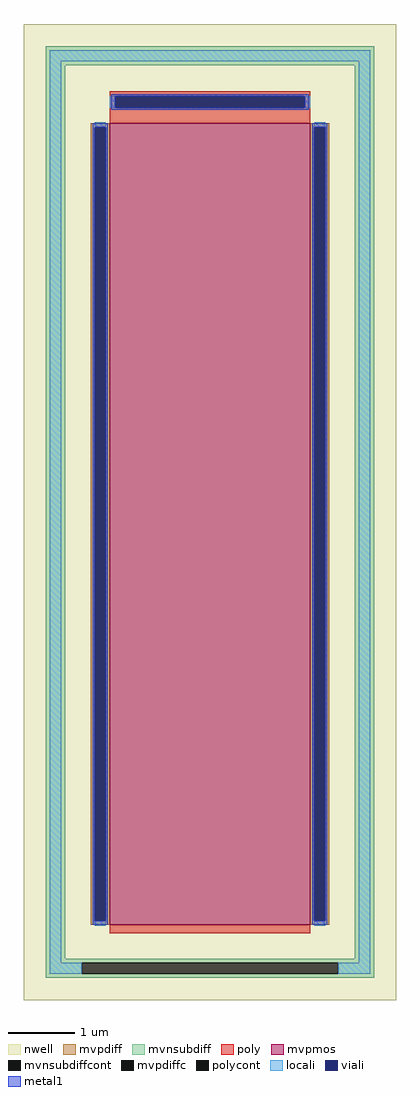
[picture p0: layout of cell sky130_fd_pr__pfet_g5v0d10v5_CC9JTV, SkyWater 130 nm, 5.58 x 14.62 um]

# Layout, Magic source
magic
tech sky130A
magscale 1 2
<< nwell >>
rect -558 -1462 558 1462
<< mvpmos >>
rect -300 -1236 300 1164
<< mvpdiff >>
rect -358 1152 -300 1164
rect -358 -1224 -346 1152
rect -312 -1224 -300 1152
rect -358 -1236 -300 -1224
rect 300 1152 358 1164
rect 300 -1224 312 1152
rect 346 -1224 358 1152
rect 300 -1236 358 -1224
<< mvpdiffc >>
rect -346 -1224 -312 1152
rect 312 -1224 346 1152
<< mvnsubdiff >>
rect -492 1338 492 1396
rect -492 -1338 -434 1338
rect 434 -1338 492 1338
rect -492 -1350 492 -1338
rect -492 -1384 -384 -1350
rect 384 -1384 492 -1350
rect -492 -1396 492 -1384
<< mvnsubdiffcont >>
rect -384 -1384 384 -1350
<< poly >>
rect -300 1245 300 1261
rect -300 1211 -284 1245
rect 284 1211 300 1245
rect -300 1164 300 1211
rect -300 -1262 300 -1236
<< polycont >>
rect -284 1211 284 1245
<< locali >>
rect -480 1350 480 1384
rect -480 -1350 -446 1350
rect -300 1211 -284 1245
rect 284 1211 300 1245
rect -346 1152 -312 1168
rect -346 -1240 -312 -1224
rect 312 1152 346 1168
rect 312 -1240 346 -1224
rect 446 -1350 480 1350
rect -480 -1384 -384 -1350
rect 384 -1384 480 -1350
<< viali >>
rect -284 1211 284 1245
rect -346 -1224 -312 1152
rect 312 -1224 346 1152
<< metal1 >>
rect -296 1245 296 1251
rect -296 1211 -284 1245
rect 284 1211 296 1245
rect -296 1205 296 1211
rect -352 1152 -306 1164
rect -352 -1224 -346 1152
rect -312 -1224 -306 1152
rect -352 -1236 -306 -1224
rect 306 1152 352 1164
rect 306 -1224 312 1152
rect 346 -1224 352 1152
rect 306 -1236 352 -1224
<< properties >>
string FIXED_BBOX -463 -1367 463 1367
string gencell sky130_fd_pr__pfet_g5v0d10v5
string library sky130
string parameters w 12 l 3 m 1 nf 1 diffcov 100 polycov 100 guard 1 glc 0 grc 0 gtc 0 gbc 1 tbcov 100 rlcov 100 topc 1 botc 0 poverlap 0 doverlap 1 lmin 0.50 wmin 0.42 compatible {sky130_fd_pr__pfet_01v8  sky130_fd_pr__pfet_01v8_lvt sky130_fd_pr__pfet_01v8_hvt  sky130_fd_pr__pfet_g5v0d10v5} full_metal 1 viasrc 100 viadrn 100 viagate 100 viagb 0 viagr 0 viagl 0 viagt 0
<< end >>
